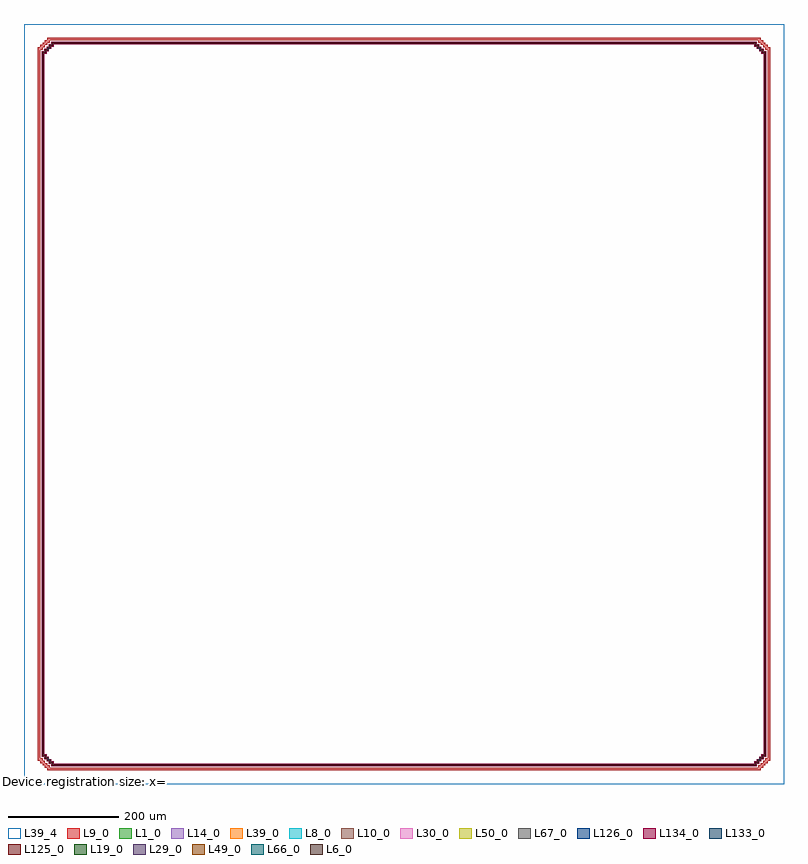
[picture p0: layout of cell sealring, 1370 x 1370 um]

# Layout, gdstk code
import gdstk
lib = gdstk.Library(unit=1e-6, precision=1e-09)
def R(c, l, rs):  # rectangles x0, y0, x1, y1
    for r in rs: c.add(gdstk.rectangle(r[:2], r[2:], *l))
def P(c, l, *ps):  # polygons
    for p in ps: c.add(gdstk.Polygon(p, *l))
L1_0 = (1, 0)
L6_0 = (6, 0)
L8_0 = (8, 0)
L9_0 = (9, 0)
L10_0 = (10, 0)
L14_0 = (14, 0)
L19_0 = (19, 0)
L29_0 = (29, 0)
L30_0 = (30, 0)
L39_0 = (39, 0)
L39_4 = (39, 4)
L49_0 = (49, 0)
L50_0 = (50, 0)
L66_0 = (66, 0)
L67_0 = (67, 0)
L125_0 = (125, 0)
L126_0 = (126, 0)
L133_0 = (133, 0)
L134_0 = (134, 0)

sealring = lib.new_cell('sealring')
R(sealring, L1_0, [(49,32.2,53.2,40.6), (53.2,32.2,1316.8,36.4), (1316.8,32.2,1321,36.4), (44.8,36.4,49,44.8), (1316.8,36.4,1325.2,40.6), (40.6,40.6,44.8,49), (1321,40.6,1329.4,44.8), (36.4,44.8,40.6,53.2), (1325.2,44.8,1333.6,49), (32.2,49,36.4,53.2), (1329.4,49,1337.8,53.2), (32.2,53.2,36.4,1316.8), (1333.6,53.2,1337.8,1316.8), (32.2,1316.8,40.6,1321), (1329.4,1316.8,1333.6,1325.2), (1333.6,1316.8,1337.8,1321), (36.4,1321,44.8,1325.2), (1325.2,1321,1329.4,1329.4), (40.6,1325.2,49,1329.4), (1321,1325.2,1325.2,1333.6), (44.8,1329.4,53.2,1333.6), (1316.8,1329.4,1321,1337.8), (49,1333.6,53.2,1337.8), (53.2,1333.6,1316.8,1337.8)])
R(sealring, L6_0, [(53.2,34.2,1316.8,34.36), (34.2,53.2,34.36,1316.8), (1335.64,53.2,1335.8,1316.8), (53.2,1335.64,1316.8,1335.8)])
P(sealring, L6_0, [(1335.64,1316.8),(1335.64,1318.84),(1331.44,1318.84),(1331.44,1323.04),(1327.24,1323.04),(1327.24,1327.24),(1323.04,1327.24),(1323.04,1331.44),(1318.84,1331.44),(1318.84,1335.64),(1316.8,1335.64),(1316.8,1335.8),(1319,1335.8),(1319,1331.6),(1323.2,1331.6),(1323.2,1327.4),(1327.4,1327.4),(1327.4,1323.2),(1331.6,1323.2),(1331.6,1319),(1335.8,1319),(1335.8,1316.8)],
  [(51,34.2),(51,38.4),(46.8,38.4),(46.8,42.6),(42.6,42.6),(42.6,46.8),(38.4,46.8),(38.4,51),(34.2,51),(34.2,53.2),(34.36,53.2),(34.36,51.16),(38.56,51.16),(38.56,46.96),(42.76,46.96),(42.76,42.76),(46.96,42.76),(46.96,38.56),(51.16,38.56),(51.16,34.36),(53.2,34.36),(53.2,34.2)],
  [(1316.8,34.2),(1316.8,34.36),(1318.84,34.36),(1318.84,38.56),(1323.04,38.56),(1323.04,42.76),(1327.24,42.76),(1327.24,46.96),(1331.44,46.96),(1331.44,51.16),(1335.64,51.16),(1335.64,53.2),(1335.8,53.2),(1335.8,51),(1331.6,51),(1331.6,46.8),(1327.4,46.8),(1327.4,42.6),(1323.2,42.6),(1323.2,38.4),(1319,38.4),(1319,34.2)],
  [(34.2,1316.8),(34.2,1319),(38.4,1319),(38.4,1323.2),(42.6,1323.2),(42.6,1327.4),(46.8,1327.4),(46.8,1331.6),(51,1331.6),(51,1335.8),(53.2,1335.8),(53.2,1335.64),(51.16,1335.64),(51.16,1331.44),(46.96,1331.44),(46.96,1327.24),(42.76,1327.24),(42.76,1323.04),(38.56,1323.04),(38.56,1318.84),(34.36,1318.84),(34.36,1316.8)])
R(sealring, L8_0, [(49,32.2,53.2,40.6), (53.2,32.2,1316.8,36.4), (1316.8,32.2,1321,36.4), (44.8,36.4,49,44.8), (1316.8,36.4,1325.2,40.6), (40.6,40.6,44.8,49), (1321,40.6,1329.4,44.8), (36.4,44.8,40.6,53.2), (1325.2,44.8,1333.6,49), (32.2,49,36.4,53.2), (1329.4,49,1337.8,53.2), (32.2,53.2,36.4,1316.8), (1333.6,53.2,1337.8,1316.8), (32.2,1316.8,40.6,1321), (1329.4,1316.8,1333.6,1325.2), (1333.6,1316.8,1337.8,1321), (36.4,1321,44.8,1325.2), (1325.2,1321,1329.4,1329.4), (40.6,1325.2,49,1329.4), (1321,1325.2,1325.2,1333.6), (44.8,1329.4,53.2,1333.6), (1316.8,1329.4,1321,1337.8), (49,1333.6,53.2,1337.8), (53.2,1333.6,1316.8,1337.8)])
R(sealring, L9_0, [(53.2,25,1316.8,29.2), (25,53.2,29.2,1316.8), (1340.8,53.2,1345,1316.8), (53.2,1340.8,1316.8,1345)])
P(sealring, L9_0, [(41.8,25),(41.8,29.2),(37.6,29.2),(37.6,33.4),(33.4,33.4),(33.4,37.6),(29.2,37.6),(29.2,41.8),(25,41.8),(25,53.2),(29.2,53.2),(29.2,46),(33.4,46),(33.4,41.8),(37.6,41.8),(37.6,37.6),(41.8,37.6),(41.8,33.4),(46,33.4),(46,29.2),(78.2,29.2),(78.2,25)],
  [(1340.8,1316.8),(1340.8,1324),(1336.6,1324),(1336.6,1328.2),(1332.4,1328.2),(1332.4,1332.4),(1328.2,1332.4),(1328.2,1336.6),(1324,1336.6),(1324,1340.8),(1291.8,1340.8),(1291.8,1345),(1328.2,1345),(1328.2,1340.8),(1332.4,1340.8),(1332.4,1336.6),(1336.6,1336.6),(1336.6,1332.4),(1340.8,1332.4),(1340.8,1328.2),(1345,1328.2),(1345,1316.8)],
  [(1316.8,25),(1316.8,29.2),(1324,29.2),(1324,33.4),(1328.2,33.4),(1328.2,37.6),(1332.4,37.6),(1332.4,41.8),(1336.6,41.8),(1336.6,46),(1340.8,46),(1340.8,78.2),(1345,78.2),(1345,41.8),(1340.8,41.8),(1340.8,37.6),(1336.6,37.6),(1336.6,33.4),(1332.4,33.4),(1332.4,29.2),(1328.2,29.2),(1328.2,25)],
  [(25,1291.8),(25,1328.2),(29.2,1328.2),(29.2,1332.4),(33.4,1332.4),(33.4,1336.6),(37.6,1336.6),(37.6,1340.8),(41.8,1340.8),(41.8,1345),(53.2,1345),(53.2,1340.8),(46,1340.8),(46,1336.6),(41.8,1336.6),(41.8,1332.4),(37.6,1332.4),(37.6,1328.2),(33.4,1328.2),(33.4,1324),(29.2,1324),(29.2,1291.8)])
R(sealring, L10_0, [(49,32.2,53.2,40.6), (53.2,32.2,1316.8,36.4), (1316.8,32.2,1321,36.4), (44.8,36.4,49,44.8), (1316.8,36.4,1325.2,40.6), (40.6,40.6,44.8,49), (1321,40.6,1329.4,44.8), (36.4,44.8,40.6,53.2), (1325.2,44.8,1333.6,49), (32.2,49,36.4,53.2), (1329.4,49,1337.8,53.2), (32.2,53.2,36.4,1316.8), (1333.6,53.2,1337.8,1316.8), (32.2,1316.8,40.6,1321), (1329.4,1316.8,1333.6,1325.2), (1333.6,1316.8,1337.8,1321), (36.4,1321,44.8,1325.2), (1325.2,1321,1329.4,1329.4), (40.6,1325.2,49,1329.4), (1321,1325.2,1325.2,1333.6), (44.8,1329.4,53.2,1333.6), (1316.8,1329.4,1321,1337.8), (49,1333.6,53.2,1337.8), (53.2,1333.6,1316.8,1337.8)])
R(sealring, L14_0, [(49,32.2,53.2,40.6), (53.2,32.2,1316.8,36.4), (1316.8,32.2,1321,36.4), (44.8,36.4,49,44.8), (1316.8,36.4,1325.2,40.6), (40.6,40.6,44.8,49), (1321,40.6,1329.4,44.8), (36.4,44.8,40.6,53.2), (1325.2,44.8,1333.6,49), (32.2,49,36.4,53.2), (1329.4,49,1337.8,53.2), (32.2,53.2,36.4,1316.8), (1333.6,53.2,1337.8,1316.8), (32.2,1316.8,40.6,1321), (1329.4,1316.8,1333.6,1325.2), (1333.6,1316.8,1337.8,1321), (36.4,1321,44.8,1325.2), (1325.2,1321,1329.4,1329.4), (40.6,1325.2,49,1329.4), (1321,1325.2,1325.2,1333.6), (44.8,1329.4,53.2,1333.6), (1316.8,1329.4,1321,1337.8), (49,1333.6,53.2,1337.8), (53.2,1333.6,1316.8,1337.8)])
R(sealring, L19_0, [(53.2,34.2,1316.8,34.39), (34.2,53.2,34.39,1316.8), (1335.61,53.2,1335.8,1316.8), (53.2,1335.61,1316.8,1335.8)])
P(sealring, L19_0, [(1335.61,1316.8),(1335.61,1318.81),(1331.41,1318.81),(1331.41,1323.01),(1327.21,1323.01),(1327.21,1327.21),(1323.01,1327.21),(1323.01,1331.41),(1318.81,1331.41),(1318.81,1335.61),(1316.8,1335.61),(1316.8,1335.8),(1319,1335.8),(1319,1331.6),(1323.2,1331.6),(1323.2,1327.4),(1327.4,1327.4),(1327.4,1323.2),(1331.6,1323.2),(1331.6,1319),(1335.8,1319),(1335.8,1316.8)],
  [(51,34.2),(51,38.4),(46.8,38.4),(46.8,42.6),(42.6,42.6),(42.6,46.8),(38.4,46.8),(38.4,51),(34.2,51),(34.2,53.2),(34.39,53.2),(34.39,51.19),(38.59,51.19),(38.59,46.99),(42.79,46.99),(42.79,42.79),(46.99,42.79),(46.99,38.59),(51.19,38.59),(51.19,34.39),(53.2,34.39),(53.2,34.2)],
  [(1316.8,34.2),(1316.8,34.39),(1318.81,34.39),(1318.81,38.59),(1323.01,38.59),(1323.01,42.79),(1327.21,42.79),(1327.21,46.99),(1331.41,46.99),(1331.41,51.19),(1335.61,51.19),(1335.61,53.2),(1335.8,53.2),(1335.8,51),(1331.6,51),(1331.6,46.8),(1327.4,46.8),(1327.4,42.6),(1323.2,42.6),(1323.2,38.4),(1319,38.4),(1319,34.2)],
  [(34.2,1316.8),(34.2,1319),(38.4,1319),(38.4,1323.2),(42.6,1323.2),(42.6,1327.4),(46.8,1327.4),(46.8,1331.6),(51,1331.6),(51,1335.8),(53.2,1335.8),(53.2,1335.61),(51.19,1335.61),(51.19,1331.41),(46.99,1331.41),(46.99,1327.21),(42.79,1327.21),(42.79,1323.01),(38.59,1323.01),(38.59,1318.81),(34.39,1318.81),(34.39,1316.8)])
R(sealring, L29_0, [(53.2,34.2,1316.8,34.39), (34.2,53.2,34.39,1316.8), (1335.61,53.2,1335.8,1316.8), (53.2,1335.61,1316.8,1335.8)])
P(sealring, L29_0, [(1335.61,1316.8),(1335.61,1318.81),(1331.41,1318.81),(1331.41,1323.01),(1327.21,1323.01),(1327.21,1327.21),(1323.01,1327.21),(1323.01,1331.41),(1318.81,1331.41),(1318.81,1335.61),(1316.8,1335.61),(1316.8,1335.8),(1319,1335.8),(1319,1331.6),(1323.2,1331.6),(1323.2,1327.4),(1327.4,1327.4),(1327.4,1323.2),(1331.6,1323.2),(1331.6,1319),(1335.8,1319),(1335.8,1316.8)],
  [(51,34.2),(51,38.4),(46.8,38.4),(46.8,42.6),(42.6,42.6),(42.6,46.8),(38.4,46.8),(38.4,51),(34.2,51),(34.2,53.2),(34.39,53.2),(34.39,51.19),(38.59,51.19),(38.59,46.99),(42.79,46.99),(42.79,42.79),(46.99,42.79),(46.99,38.59),(51.19,38.59),(51.19,34.39),(53.2,34.39),(53.2,34.2)],
  [(1316.8,34.2),(1316.8,34.39),(1318.81,34.39),(1318.81,38.59),(1323.01,38.59),(1323.01,42.79),(1327.21,42.79),(1327.21,46.99),(1331.41,46.99),(1331.41,51.19),(1335.61,51.19),(1335.61,53.2),(1335.8,53.2),(1335.8,51),(1331.6,51),(1331.6,46.8),(1327.4,46.8),(1327.4,42.6),(1323.2,42.6),(1323.2,38.4),(1319,38.4),(1319,34.2)],
  [(34.2,1316.8),(34.2,1319),(38.4,1319),(38.4,1323.2),(42.6,1323.2),(42.6,1327.4),(46.8,1327.4),(46.8,1331.6),(51,1331.6),(51,1335.8),(53.2,1335.8),(53.2,1335.61),(51.19,1335.61),(51.19,1331.41),(46.99,1331.41),(46.99,1327.21),(42.79,1327.21),(42.79,1323.01),(38.59,1323.01),(38.59,1318.81),(34.39,1318.81),(34.39,1316.8)])
R(sealring, L30_0, [(49,32.2,53.2,40.6), (53.2,32.2,1316.8,36.4), (1316.8,32.2,1321,36.4), (44.8,36.4,49,44.8), (1316.8,36.4,1325.2,40.6), (40.6,40.6,44.8,49), (1321,40.6,1329.4,44.8), (36.4,44.8,40.6,53.2), (1325.2,44.8,1333.6,49), (32.2,49,36.4,53.2), (1329.4,49,1337.8,53.2), (32.2,53.2,36.4,1316.8), (1333.6,53.2,1337.8,1316.8), (32.2,1316.8,40.6,1321), (1329.4,1316.8,1333.6,1325.2), (1333.6,1316.8,1337.8,1321), (36.4,1321,44.8,1325.2), (1325.2,1321,1329.4,1329.4), (40.6,1325.2,49,1329.4), (1321,1325.2,1325.2,1333.6), (44.8,1329.4,53.2,1333.6), (1316.8,1329.4,1321,1337.8), (49,1333.6,53.2,1337.8), (53.2,1333.6,1316.8,1337.8)])
R(sealring, L39_0, [(49,32.2,53.2,40.6), (53.2,32.2,1316.8,36.4), (1316.8,32.2,1321,36.4), (44.8,36.4,49,44.8), (1316.8,36.4,1325.2,40.6), (40.6,40.6,44.8,49), (1321,40.6,1329.4,44.8), (36.4,44.8,40.6,53.2), (1325.2,44.8,1333.6,49), (32.2,49,36.4,53.2), (1329.4,49,1337.8,53.2), (32.2,53.2,36.4,1316.8), (1333.6,53.2,1337.8,1316.8), (32.2,1316.8,40.6,1321), (1329.4,1316.8,1333.6,1325.2), (1333.6,1316.8,1337.8,1321), (36.4,1321,44.8,1325.2), (1325.2,1321,1329.4,1329.4), (40.6,1325.2,49,1329.4), (1321,1325.2,1325.2,1333.6), (44.8,1329.4,53.2,1333.6), (1316.8,1329.4,1321,1337.8), (49,1333.6,53.2,1337.8), (53.2,1333.6,1316.8,1337.8)])
R(sealring, L39_4, [(0,0,1370,1370)])
R(sealring, L49_0, [(53.2,34.2,1316.8,34.39), (34.2,53.2,34.39,1316.8), (1335.61,53.2,1335.8,1316.8), (53.2,1335.61,1316.8,1335.8)])
P(sealring, L49_0, [(1335.61,1316.8),(1335.61,1318.81),(1331.41,1318.81),(1331.41,1323.01),(1327.21,1323.01),(1327.21,1327.21),(1323.01,1327.21),(1323.01,1331.41),(1318.81,1331.41),(1318.81,1335.61),(1316.8,1335.61),(1316.8,1335.8),(1319,1335.8),(1319,1331.6),(1323.2,1331.6),(1323.2,1327.4),(1327.4,1327.4),(1327.4,1323.2),(1331.6,1323.2),(1331.6,1319),(1335.8,1319),(1335.8,1316.8)],
  [(51,34.2),(51,38.4),(46.8,38.4),(46.8,42.6),(42.6,42.6),(42.6,46.8),(38.4,46.8),(38.4,51),(34.2,51),(34.2,53.2),(34.39,53.2),(34.39,51.19),(38.59,51.19),(38.59,46.99),(42.79,46.99),(42.79,42.79),(46.99,42.79),(46.99,38.59),(51.19,38.59),(51.19,34.39),(53.2,34.39),(53.2,34.2)],
  [(1316.8,34.2),(1316.8,34.39),(1318.81,34.39),(1318.81,38.59),(1323.01,38.59),(1323.01,42.79),(1327.21,42.79),(1327.21,46.99),(1331.41,46.99),(1331.41,51.19),(1335.61,51.19),(1335.61,53.2),(1335.8,53.2),(1335.8,51),(1331.6,51),(1331.6,46.8),(1327.4,46.8),(1327.4,42.6),(1323.2,42.6),(1323.2,38.4),(1319,38.4),(1319,34.2)],
  [(34.2,1316.8),(34.2,1319),(38.4,1319),(38.4,1323.2),(42.6,1323.2),(42.6,1327.4),(46.8,1327.4),(46.8,1331.6),(51,1331.6),(51,1335.8),(53.2,1335.8),(53.2,1335.61),(51.19,1335.61),(51.19,1331.41),(46.99,1331.41),(46.99,1327.21),(42.79,1327.21),(42.79,1323.01),(38.59,1323.01),(38.59,1318.81),(34.39,1318.81),(34.39,1316.8)])
R(sealring, L50_0, [(49,32.2,53.2,40.6), (53.2,32.2,1316.8,36.4), (1316.8,32.2,1321,36.4), (44.8,36.4,49,44.8), (1316.8,36.4,1325.2,40.6), (40.6,40.6,44.8,49), (1321,40.6,1329.4,44.8), (36.4,44.8,40.6,53.2), (1325.2,44.8,1333.6,49), (32.2,49,36.4,53.2), (1329.4,49,1337.8,53.2), (32.2,53.2,36.4,1316.8), (1333.6,53.2,1337.8,1316.8), (32.2,1316.8,40.6,1321), (1329.4,1316.8,1333.6,1325.2), (1333.6,1316.8,1337.8,1321), (36.4,1321,44.8,1325.2), (1325.2,1321,1329.4,1329.4), (40.6,1325.2,49,1329.4), (1321,1325.2,1325.2,1333.6), (44.8,1329.4,53.2,1333.6), (1316.8,1329.4,1321,1337.8), (49,1333.6,53.2,1337.8), (53.2,1333.6,1316.8,1337.8)])
R(sealring, L66_0, [(53.2,34.2,1316.8,34.39), (34.2,53.2,34.39,1316.8), (1335.61,53.2,1335.8,1316.8), (53.2,1335.61,1316.8,1335.8)])
P(sealring, L66_0, [(1335.61,1316.8),(1335.61,1318.81),(1331.41,1318.81),(1331.41,1323.01),(1327.21,1323.01),(1327.21,1327.21),(1323.01,1327.21),(1323.01,1331.41),(1318.81,1331.41),(1318.81,1335.61),(1316.8,1335.61),(1316.8,1335.8),(1319,1335.8),(1319,1331.6),(1323.2,1331.6),(1323.2,1327.4),(1327.4,1327.4),(1327.4,1323.2),(1331.6,1323.2),(1331.6,1319),(1335.8,1319),(1335.8,1316.8)],
  [(51,34.2),(51,38.4),(46.8,38.4),(46.8,42.6),(42.6,42.6),(42.6,46.8),(38.4,46.8),(38.4,51),(34.2,51),(34.2,53.2),(34.39,53.2),(34.39,51.19),(38.59,51.19),(38.59,46.99),(42.79,46.99),(42.79,42.79),(46.99,42.79),(46.99,38.59),(51.19,38.59),(51.19,34.39),(53.2,34.39),(53.2,34.2)],
  [(1316.8,34.2),(1316.8,34.39),(1318.81,34.39),(1318.81,38.59),(1323.01,38.59),(1323.01,42.79),(1327.21,42.79),(1327.21,46.99),(1331.41,46.99),(1331.41,51.19),(1335.61,51.19),(1335.61,53.2),(1335.8,53.2),(1335.8,51),(1331.6,51),(1331.6,46.8),(1327.4,46.8),(1327.4,42.6),(1323.2,42.6),(1323.2,38.4),(1319,38.4),(1319,34.2)],
  [(34.2,1316.8),(34.2,1319),(38.4,1319),(38.4,1323.2),(42.6,1323.2),(42.6,1327.4),(46.8,1327.4),(46.8,1331.6),(51,1331.6),(51,1335.8),(53.2,1335.8),(53.2,1335.61),(51.19,1335.61),(51.19,1331.41),(46.99,1331.41),(46.99,1327.21),(42.79,1327.21),(42.79,1323.01),(38.59,1323.01),(38.59,1318.81),(34.39,1318.81),(34.39,1316.8)])
R(sealring, L67_0, [(49,32.2,53.2,40.6), (53.2,32.2,1316.8,36.4), (1316.8,32.2,1321,36.4), (44.8,36.4,49,44.8), (1316.8,36.4,1325.2,40.6), (40.6,40.6,44.8,49), (1321,40.6,1329.4,44.8), (36.4,44.8,40.6,53.2), (1325.2,44.8,1333.6,49), (32.2,49,36.4,53.2), (1329.4,49,1337.8,53.2), (32.2,53.2,36.4,1316.8), (1333.6,53.2,1337.8,1316.8), (32.2,1316.8,40.6,1321), (1329.4,1316.8,1333.6,1325.2), (1333.6,1316.8,1337.8,1321), (36.4,1321,44.8,1325.2), (1325.2,1321,1329.4,1329.4), (40.6,1325.2,49,1329.4), (1321,1325.2,1325.2,1333.6), (44.8,1329.4,53.2,1333.6), (1316.8,1329.4,1321,1337.8), (49,1333.6,53.2,1337.8), (53.2,1333.6,1316.8,1337.8)])
R(sealring, L125_0, [(53.2,34.2,1316.8,34.62), (34.2,53.2,34.62,1316.8), (1335.38,53.2,1335.8,1316.8), (53.2,1335.38,1316.8,1335.8)])
P(sealring, L125_0, [(1335.38,1316.8),(1335.38,1318.58),(1331.18,1318.58),(1331.18,1322.78),(1326.98,1322.78),(1326.98,1326.98),(1322.78,1326.98),(1322.78,1331.18),(1318.58,1331.18),(1318.58,1335.38),(1316.8,1335.38),(1316.8,1335.8),(1319,1335.8),(1319,1331.6),(1323.2,1331.6),(1323.2,1327.4),(1327.4,1327.4),(1327.4,1323.2),(1331.6,1323.2),(1331.6,1319),(1335.8,1319),(1335.8,1316.8)],
  [(51,34.2),(51,38.4),(46.8,38.4),(46.8,42.6),(42.6,42.6),(42.6,46.8),(38.4,46.8),(38.4,51),(34.2,51),(34.2,53.2),(34.62,53.2),(34.62,51.42),(38.82,51.42),(38.82,47.22),(43.02,47.22),(43.02,43.02),(47.22,43.02),(47.22,38.82),(51.42,38.82),(51.42,34.62),(53.2,34.62),(53.2,34.2)],
  [(1316.8,34.2),(1316.8,34.62),(1318.58,34.62),(1318.58,38.82),(1322.78,38.82),(1322.78,43.02),(1326.98,43.02),(1326.98,47.22),(1331.18,47.22),(1331.18,51.42),(1335.38,51.42),(1335.38,53.2),(1335.8,53.2),(1335.8,51),(1331.6,51),(1331.6,46.8),(1327.4,46.8),(1327.4,42.6),(1323.2,42.6),(1323.2,38.4),(1319,38.4),(1319,34.2)],
  [(34.2,1316.8),(34.2,1319),(38.4,1319),(38.4,1323.2),(42.6,1323.2),(42.6,1327.4),(46.8,1327.4),(46.8,1331.6),(51,1331.6),(51,1335.8),(53.2,1335.8),(53.2,1335.38),(51.42,1335.38),(51.42,1331.18),(47.22,1331.18),(47.22,1326.98),(43.02,1326.98),(43.02,1322.78),(38.82,1322.78),(38.82,1318.58),(34.62,1318.58),(34.62,1316.8)])
R(sealring, L126_0, [(49,32.2,53.2,40.6), (53.2,32.2,1316.8,36.4), (1316.8,32.2,1321,36.4), (44.8,36.4,49,44.8), (1316.8,36.4,1325.2,40.6), (40.6,40.6,44.8,49), (1321,40.6,1329.4,44.8), (36.4,44.8,40.6,53.2), (1325.2,44.8,1333.6,49), (32.2,49,36.4,53.2), (1329.4,49,1337.8,53.2), (32.2,53.2,36.4,1316.8), (1333.6,53.2,1337.8,1316.8), (32.2,1316.8,40.6,1321), (1329.4,1316.8,1333.6,1325.2), (1333.6,1316.8,1337.8,1321), (36.4,1321,44.8,1325.2), (1325.2,1321,1329.4,1329.4), (40.6,1325.2,49,1329.4), (1321,1325.2,1325.2,1333.6), (44.8,1329.4,53.2,1333.6), (1316.8,1329.4,1321,1337.8), (49,1333.6,53.2,1337.8), (53.2,1333.6,1316.8,1337.8)])
R(sealring, L133_0, [(53.2,34.2,1316.8,35.1), (34.2,53.2,35.1,1316.8), (1334.9,53.2,1335.8,1316.8), (53.2,1334.9,1316.8,1335.8)])
P(sealring, L133_0, [(1334.9,1316.8),(1334.9,1318.1),(1330.7,1318.1),(1330.7,1322.3),(1326.5,1322.3),(1326.5,1326.5),(1322.3,1326.5),(1322.3,1330.7),(1318.1,1330.7),(1318.1,1334.9),(1316.8,1334.9),(1316.8,1335.8),(1319,1335.8),(1319,1331.6),(1323.2,1331.6),(1323.2,1327.4),(1327.4,1327.4),(1327.4,1323.2),(1331.6,1323.2),(1331.6,1319),(1335.8,1319),(1335.8,1316.8)],
  [(51,34.2),(51,38.4),(46.8,38.4),(46.8,42.6),(42.6,42.6),(42.6,46.8),(38.4,46.8),(38.4,51),(34.2,51),(34.2,53.2),(35.1,53.2),(35.1,51.9),(39.3,51.9),(39.3,47.7),(43.5,47.7),(43.5,43.5),(47.7,43.5),(47.7,39.3),(51.9,39.3),(51.9,35.1),(53.2,35.1),(53.2,34.2)],
  [(1316.8,34.2),(1316.8,35.1),(1318.1,35.1),(1318.1,39.3),(1322.3,39.3),(1322.3,43.5),(1326.5,43.5),(1326.5,47.7),(1330.7,47.7),(1330.7,51.9),(1334.9,51.9),(1334.9,53.2),(1335.8,53.2),(1335.8,51),(1331.6,51),(1331.6,46.8),(1327.4,46.8),(1327.4,42.6),(1323.2,42.6),(1323.2,38.4),(1319,38.4),(1319,34.2)],
  [(34.2,1316.8),(34.2,1319),(38.4,1319),(38.4,1323.2),(42.6,1323.2),(42.6,1327.4),(46.8,1327.4),(46.8,1331.6),(51,1331.6),(51,1335.8),(53.2,1335.8),(53.2,1334.9),(51.9,1334.9),(51.9,1330.7),(47.7,1330.7),(47.7,1326.5),(43.5,1326.5),(43.5,1322.3),(39.3,1322.3),(39.3,1318.1),(35.1,1318.1),(35.1,1316.8)])
R(sealring, L134_0, [(49,32.2,53.2,40.6), (53.2,32.2,1316.8,36.4), (1316.8,32.2,1321,36.4), (44.8,36.4,49,44.8), (1316.8,36.4,1325.2,40.6), (40.6,40.6,44.8,49), (1321,40.6,1329.4,44.8), (36.4,44.8,40.6,53.2), (1325.2,44.8,1333.6,49), (32.2,49,36.4,53.2), (1329.4,49,1337.8,53.2), (32.2,53.2,36.4,1316.8), (1333.6,53.2,1337.8,1316.8), (32.2,1316.8,40.6,1321), (1329.4,1316.8,1333.6,1325.2), (1333.6,1316.8,1337.8,1321), (36.4,1321,44.8,1325.2), (1325.2,1321,1329.4,1329.4), (40.6,1325.2,49,1329.4), (1321,1325.2,1325.2,1333.6), (44.8,1329.4,53.2,1333.6), (1316.8,1329.4,1321,1337.8), (49,1333.6,53.2,1337.8), (53.2,1333.6,1316.8,1337.8)])
sealring.add(gdstk.Label('Device registration size: x=1370.0 um ; y=1370.0 um\nCalculated area: 1.9e-06 sq mm', (5,5), layer=63, texttype=0))

lib.write_gds('sealring.gds')
